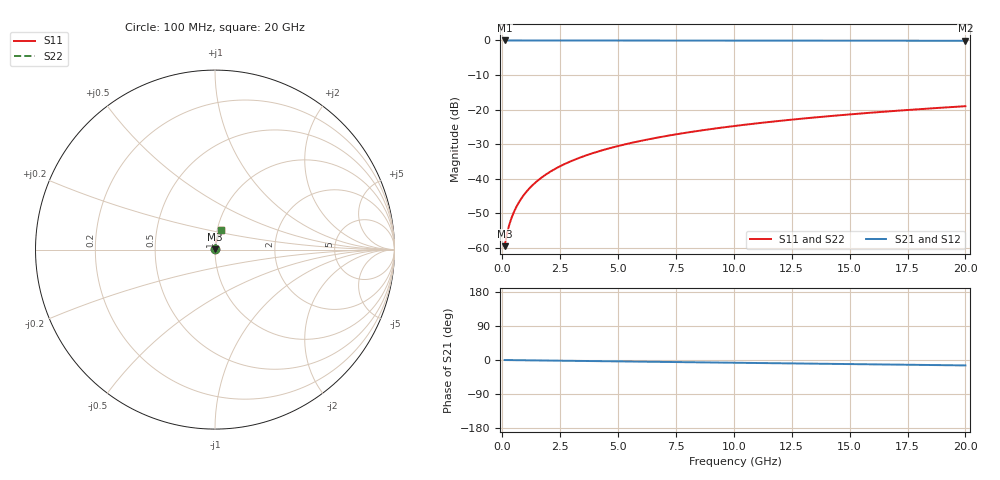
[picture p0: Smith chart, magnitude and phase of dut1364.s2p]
! Touchstone file exported from HFSS 2026.1.0
!  File:  C:/ffzhzh/LocalFiles/Ansys_Project_Files/temp_train_TMRDL_1364_1783165741_55132.aedt
!  Generated:  07:50:10 PM Jul  4, 2026
!  Design:  TMRDL
!  Project:  temp_train_TMRDL_1364_1783165741_55132
! Variables:
!  h_bsmrdl = 2um
!  h_ox = 20um
!  h_rdl = 5um
!  h_sub = 80um
!  h_tmrdl = 4.73um
!  h_tsv = 80um
!  h_via = 3um
!  l_bsmrdl = 300um
!  l_sub = 599.56um
!  l_tmrdl = 199.56um
!  m_sub = 200um
!  pitch = 42.22um
!  r_tsv = 6um
!  s_tmrdl = 10um
!  w_bsmrdl = 18um
!  w_sub = 500um
!  w_tmrdl = 24.34um
!  x_tsv_center1 = 211.73um
!  x_tsv_center2 = 529.73um
!  x_tsv_center3 = 753.63um
!  x_tsv_center4 = 1071.63um
!  x_tsv_center5 = 1295.53um
!  x_tsv_center6 = 1613.53um
# GHz S MA R 50.000000
! Terminal data exported
! Port[1] = TM_RDL1_1_T1
! Port[2] = TM_RDL1_1_T2
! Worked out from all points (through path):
!   200 points, 100 MHz to 20 GHz, reference 50 ohm
!   highest |S21| = -0.01 dB at 100 MHz (marker M1); lowest = -0.1 dB at 20 GHz (marker M2)
!   group delay of S21, straight-line fit = 1.98 ps
!   lowest |S11| = -59.5 dB at 100 MHz (marker M3), VSWR 1.00, Z = 50.1 + j0.0694 ohm
!   |S11| at or under -10 dB: start of sweep to end of sweep
!   |S22| runs from -59.5 to -19.0 dB; largest |S21 - S12| = 3.2e-15
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0.1  0.001056 41.0  0.9992 -0.1  0.9992 -0.1  0.001056 41.0
! Gamma 0 0 0 0
! Port Impedance 50 0 50 0
0.2  0.001589 57.0  0.9991 -0.2  0.9991 -0.2  0.001589 57.0
0.3  0.002146 64.6  0.9991 -0.2  0.9991 -0.2  0.002146 64.6
0.4  0.00271 69.3  0.999 -0.3  0.999 -0.3  0.00271 69.3
0.5  0.003283 72.5  0.999 -0.4  0.999 -0.4  0.003283 72.5
0.6  0.003863 74.7  0.999 -0.4  0.999 -0.4  0.003863 74.7
0.8  0.005038 77.7  0.999 -0.6  0.999 -0.6  0.005038 77.7
1.1  0.006821 80.2  0.9989 -0.8  0.9989 -0.8  0.006821 80.2
1.5  0.009211 81.8  0.9988 -1.1  0.9988 -1.1  0.009211 81.8
1.8  0.011 82.4  0.9987 -1.3  0.9987 -1.3  0.011 82.4
2.1  0.01279 82.8  0.9986 -1.6  0.9986 -1.6  0.01279 82.8
2.7  0.01634 83.0  0.9984 -2.0  0.9984 -2.0  0.01634 83.0
3.5  0.02103 82.9  0.9981 -2.6  0.9981 -2.6  0.02103 83.0
4.2  0.02509 82.7  0.9978 -3.1  0.9978 -3.1  0.02509 82.7
5  0.02968 82.4  0.9975 -3.7  0.9975 -3.7  0.02968 82.4
5.9  0.03479 81.9  0.9971 -4.3  0.9971 -4.3  0.03479 81.9
6.8  0.03987 81.5  0.9967 -5.0  0.9967 -5.0  0.03987 81.5
8.3  0.04826 80.6  0.996 -6.0  0.996 -6.0  0.04826 80.6
10.1  0.05826 79.6  0.9952 -7.3  0.9952 -7.3  0.05825 79.6
13.4  0.07638 77.6  0.9934 -9.6  0.9934 -9.6  0.07638 77.6
16.7  0.09425 75.5  0.9915 -12.0  0.9915 -12.0  0.09425 75.5
20  0.1118 73.4  0.9893 -14.3  0.9893 -14.3  0.1118 73.4
